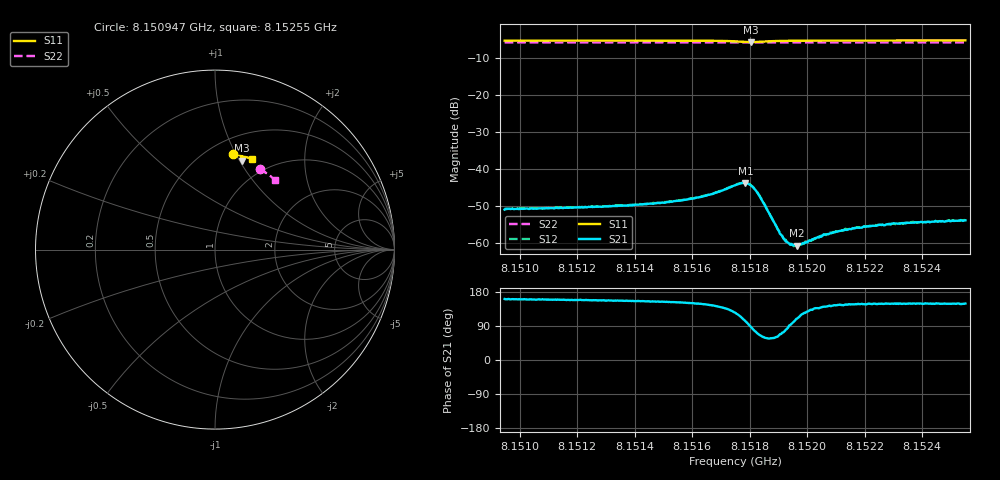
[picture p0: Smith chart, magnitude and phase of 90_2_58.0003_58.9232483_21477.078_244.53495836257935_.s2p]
#  HZ  S  RI  R  50.00
! Rohde & Schwarz Vector Network Analyzer
! Rohde-Schwarz,ZNB20-2Port,1311601062101988,3.16
! Created: UTC 3/21/2024, 12:54:16 AM
! freq[Hz]  re:S11  im:S11  re:S21  im:S21  re:S12  im:S12  re:S22  im:S22
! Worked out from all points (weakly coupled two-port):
!   401 points, 8.150947 GHz to 8.15255 GHz, reference 50 ohm
!   highest |S21| = -43.84 dB at 8.151785 GHz (marker M1); lowest = -60.9 dB at 8.151965 GHz (marker M2)
!   lowest |S11| = -5.7 dB at 8.151805 GHz (marker M3), VSWR 3.14, Z = 37.8 + j51.1 ohm
!   |S11| at or under -10 dB: nowhere
!   |S22| runs from -5.8 to -5.8 dB; largest |S21 - S12| = 0.00012
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8.1509472e9  0.0999 0.5335  -0.00264 0.000908  -0.00268 0.000991  0.2482 0.4505
8.1512157e9  0.1192 0.5298  -0.0028 0.00112  -0.00281 0.00117  0.263 0.4417
8.151392e9  0.1322 0.5268  -0.00293 0.0013  -0.00296 0.00138  0.2727 0.4356
8.1514842e9  0.1394 0.5247  -0.00309 0.0015  -0.00308 0.00153  0.2777 0.4321
8.1516285e9  0.152 0.5197  -0.00351 0.00217  -0.00351 0.00226  0.2853 0.4269
8.1516886e9  0.1581 0.5153  -0.00376 0.003  -0.00377 0.00308  0.2885 0.4245
8.1517487e9  0.1623 0.5048  -0.00342 0.00489  -0.00338 0.00495  0.2915 0.4218
8.1517848e9  0.1565 0.4957  -0.00144 0.00626  -0.00137 0.00633  0.2929 0.4203
8.1518048e9  0.1491 0.4952  0.000338 0.00589  0.000414 0.00593  0.2935 0.4198
8.1518208e9  0.1441 0.4988  0.00135 0.00491  0.00143 0.0049  0.2943 0.4194
8.1518329e9  0.1425 0.5026  0.00172 0.00398  0.00176 0.00403  0.2948 0.419
8.151901e9  0.1495 0.5154  0.000617 0.00131  0.000625 0.0013  0.2988 0.4169
8.151925e9  0.153 0.5167  0.000188 0.00102  0.000233 0.00107  0.3 0.416
8.1519451e9  0.1556 0.5172  -8.82e-05 0.000953  -6.29e-05 0.000935  0.3011 0.4152
8.1519651e9  0.1579 0.5174  -0.000302 0.000853  -0.000337 0.000897  0.3022 0.4143
8.1520172e9  0.1635 0.517  -0.000745 0.000822  -0.000737 0.000786  0.305 0.4125
8.1520533e9  0.1667 0.5165  -0.000959 0.000796  -0.000951 0.000811  0.3068 0.4111
8.1521254e9  0.1729 0.5152  -0.00119 0.000855  -0.0012 0.000832  0.3105 0.4081
8.1521976e9  0.1785 0.5137  -0.0014 0.000891  -0.00138 0.000915  0.3141 0.4054
8.1522857e9  0.1851 0.5119  -0.00151 0.000936  -0.00151 0.000958  0.3186 0.4017
8.1523699e9  0.1911 0.5098  -0.0016 0.000963  -0.0016 0.00102  0.3227 0.3982
8.1525502e9  0.2034 0.5056  -0.00171 0.00103  -0.00169 0.00106  0.3316 0.3905
